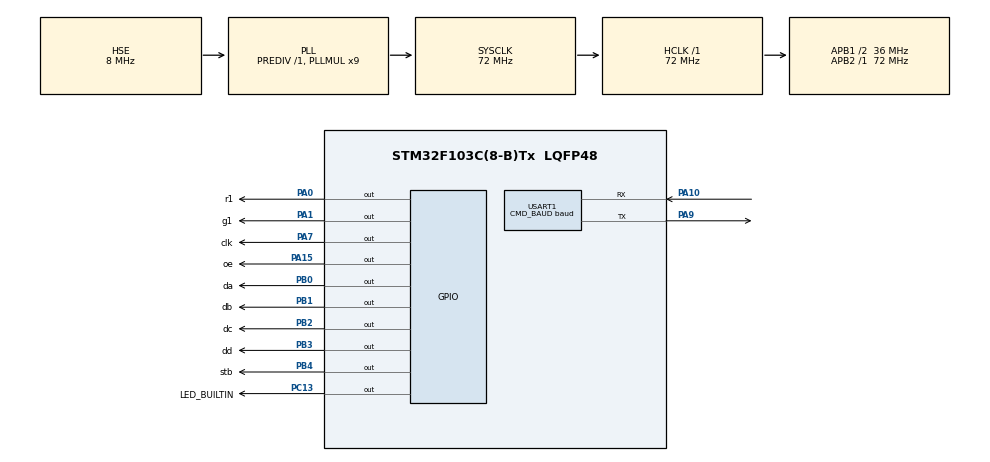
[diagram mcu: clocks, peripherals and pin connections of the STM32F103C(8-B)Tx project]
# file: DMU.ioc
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Dma.Request0=TIM1_UP
Dma.TIM1_UP.0.Direction=DMA_MEMORY_TO_PERIPH
Dma.TIM1_UP.0.Instance=DMA1_Channel5
Dma.TIM1_UP.0.MemDataAlignment=DMA_MDATAALIGN_BYTE
Dma.TIM1_UP.0.MemInc=DMA_MINC_ENABLE
Dma.TIM1_UP.0.Mode=DMA_NORMAL
Dma.TIM1_UP.0.PeriphDataAlignment=DMA_PDATAALIGN_BYTE
Dma.TIM1_UP.0.PeriphInc=DMA_PINC_DISABLE
Dma.TIM1_UP.0.Priority=DMA_PRIORITY_HIGH
IWDG.Prescaler=IWDG_PRESCALER_64
IWDG.Reload=IWDG_1S
Mcu.Family=STM32F1
Mcu.Name=STM32F103C(8-B)Tx
Mcu.Package=LQFP48
Mcu.UserConstants=CLK_PSC,0;CLK_ARR,11;CLK_MAX_DUTY,(CLK_ARR + 1);OE_PSC,0;OE_ARR,14399;OE_MAX_DUTY,(OE_ARR + 1);IWDG_1S,625;CMD_BAUD,38400
NVIC.DMA1_Channel5_IRQn=true\:6\:0\:true\:false\:true\:false\:true
NVIC.PriorityGroup=NVIC_PRIORITYGROUP_4
NVIC.TIM2_IRQn=true\:7\:0\:true\:false\:true\:true\:true
NVIC.USART1_IRQn=true\:8\:0\:true\:false\:false\:true\:true
PA0-WKUP.GPIO_Label=r1
PA0-WKUP.GPIO_Speed=GPIO_SPEED_FREQ_HIGH
PA0-WKUP.Signal=GPIO_Output
PA1.GPIO_Label=g1
PA1.GPIO_Speed=GPIO_SPEED_FREQ_HIGH
PA1.Signal=GPIO_Output
PA10.GPIO_PuPd=GPIO_PULLUP
PA10.Mode=Asynchronous
PA10.Signal=USART1_RX
PA13.Mode=Serial_Wire
PA13.Signal=SYS_JTMS-SWDIO
PA14.Mode=Serial_Wire
PA14.Signal=SYS_JTCK-SWCLK
PA15.GPIO_Label=oe
PA15.GPIO_Speed=GPIO_SPEED_FREQ_HIGH
PA15.Signal=GPIO_Output
PA7.GPIO_Label=clk
PA7.GPIO_Speed=GPIO_SPEED_FREQ_HIGH
PA7.Signal=GPIO_Output
PA9.Mode=Asynchronous
PA9.Signal=USART1_TX
PB0.GPIO_Label=da
PB0.GPIO_Speed=GPIO_SPEED_FREQ_HIGH
PB0.Signal=GPIO_Output
PB1.GPIO_Label=db
PB1.GPIO_Speed=GPIO_SPEED_FREQ_HIGH
PB1.Signal=GPIO_Output
PB2.GPIO_Label=dc
PB2.GPIO_Speed=GPIO_SPEED_FREQ_HIGH
PB2.Signal=GPIO_Output
PB3.GPIO_Label=dd
PB3.GPIO_Speed=GPIO_SPEED_FREQ_HIGH
PB3.Signal=GPIO_Output
PB4.GPIO_Label=stb
PB4.GPIO_Speed=GPIO_SPEED_FREQ_HIGH
PB4.Signal=GPIO_Output
PC13-TAMPER-RTC.GPIO_Label=LED_BUILTIN
PC13-TAMPER-RTC.GPIO_Speed=GPIO_SPEED_FREQ_HIGH
PC13-TAMPER-RTC.PinState=GPIO_PIN_SET
PC13-TAMPER-RTC.Signal=GPIO_Output
PD0-OSC_IN.Mode=HSE-External-Oscillator
PD0-OSC_IN.Signal=RCC_OSC_IN
PD1-OSC_OUT.Mode=HSE-External-Oscillator
PD1-OSC_OUT.Signal=RCC_OSC_OUT
ProjectManager.HeapSize=0x200
ProjectManager.StackSize=0x400
ProjectManager.TargetToolchain=TrueSTUDIO
RCC.AHBFreq_Value=72000000
RCC.APB1CLKDivider=RCC_HCLK_DIV2
RCC.APB1Freq_Value=36000000
RCC.APB1TimFreq_Value=72000000
RCC.APB2Freq_Value=72000000
RCC.APB2TimFreq_Value=72000000
RCC.HCLKFreq_Value=72000000
RCC.PLLMUL=RCC_PLL_MUL9
RCC.PLLSourceVirtual=RCC_PLLSOURCE_HSE
RCC.SYSCLKFreq_VALUE=72000000
RCC.SYSCLKSource=RCC_SYSCLKSOURCE_PLLCLK
RCC.USBFreq_Value=48000000
RCC.USBPrescaler=RCC_USBCLKSOURCE_PLL_DIV1_5
TIM1.Period=CLK_ARR
TIM1.Prescaler=CLK_PSC
TIM2.Period=OE_ARR
TIM2.Prescaler=OE_PSC
TIM2.TIM_MasterOutputTrigger=TIM_TRGO_UPDATE
USART1.BaudRate=CMD_BAUD
USART1.Mode=MODE_RX
USART1.VirtualMode=VM_ASYNC
VP_IWDG_VS_IWDG.Mode=IWDG_Activate
VP_TIM1_VS_ClockSourceINT.Mode=Internal
VP_TIM2_VS_ClockSourceINT.Mode=Internal
board=custom

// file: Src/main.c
/* USER CODE BEGIN Header */
/**
 ******************************************************************************
 * @file           : main.c
 * @brief          : Main program body
 ******************************************************************************
 * @attention
 *
 * <h2><center>&copy; Copyright (c) 2020 STMicroelectronics.
 * All rights reserved.</center></h2>
 *
 * This software component is licensed by ST under BSD 3-Clause license,
 * the "License"; You may not use this file except in compliance with the
 * License. You may obtain a copy of the License at:
 *                        opensource.org/licenses/BSD-3-Clause
 *
 ******************************************************************************
 */
#define USE_EEPROM_FUNCTION		0
/* USER CODE END Header */

#include "main.h"

/* USER CODE BEGIN Includes */
#include <string.h>
#include <stdio.h>
#include <stdlib.h>

#include "matrix.h"
#include "stm_hal_serial.h"
#if USE_EEPROM_FUNCTION==1
#include "eeprom.h"
#endif	//if USE_EEPROM_FUNCTION==1
/* USER CODE END Includes */

/* USER CODE BEGIN PTD */
#define DISPLAY_TEXT_MAX_SIZE			384
#define DISPLAY_TEXT_MIN_SIZE			128
typedef enum
{
	st_to_default,
	st_default,
	st_block,
	st_ops
} StateMachineBit_e;

typedef enum
{
	anim_to_start,
	anim_start_head_anim,
	anim_head_anim,
	anim_running,
	anim_start_tail_anim,
	anim_tail_anim,
	anim_end,
	anim_check_new
} StateAnimation_e;

typedef enum
{
	HT_NONE = 0,
	HT_BLINK,
	HT_BLANK
} HeadAndTailAnimation_e;

typedef enum
{
	SD_NONE = 0,
	SD_LEFT_TO_RIGHT,
	SD_RIGHT_TO_LEFT,
	SD_DOWNWARD,
	SD_UPWARD
} ScollingDirection_e;

typedef enum
{
	TA_LEFT = 0,
	TA_RIGHT,
	TA_CENTER
} TextAlignment_e;

typedef enum
{
	VA_CENTER = 0,
	VA_UP
} VerticalAlignment_e;

typedef enum
{
	PB_Color_bit = 0,
	PB_Fontsize_bit = 3,
	PB_Default_bit = 5,
	PB_Timeout_bit = 6,
	PB_HeadAnim_bit = 0,
	PB_TailAnim_bit = 3,
	PB_Alignment_bit = 6,
	PB_Direction_bit = 8,
	PB_VAlignment_bit = 12
} ParamBits_e;

typedef struct
{
	StateAnimation_e state;

	HeadAndTailAnimation_e headAnimation;
	HeadAndTailAnimation_e tailAnimation;
	TextAlignment_e alignment;
	VerticalAlignment_e vAlign;
	ScollingDirection_e direction;

	int32_t currentX;
	int32_t currentY;
	uint32_t timeout;
} Animation_t;

typedef enum
{
	DISPLAY_TEXT = 0,
	DISPLAY_BLOCK,
	DISPLAY_RESV
} DisplayMode_e;

typedef struct
{
	DisplayMode_e type;
	uint8_t fontSize;
	uint8_t color;
	bool defaultMode;
	char msg[DISPLAY_TEXT_MAX_SIZE];
	uint32_t timeout;
	Animation_t animation;
} DisplayText_t;

typedef struct
{
	bool newTextAvailable;
	uint8_t state;

	DisplayText_t activeText;
	DisplayText_t newText;
	DisplayText_t DefaultText;
} RText_t;

typedef struct
{
	char buf[10][DISPLAY_TEXT_MIN_SIZE];
	uint8_t bufPointer;
	uint8_t maxBuf;
} FlipTextBuffer_t;

/* USER CODE END PTD */

/* USER CODE BEGIN PD */
#define DEBUG					0
#if DEBUG==1
uint16_t fps = 0;
#endif	//if DEBUG==1

#define SW_VERSION				"v1.2.1b"

#define CMD_BUFSIZE				512
#define TEXT_COLOR				0b001

#define CMD_TIMEOUT				35000
/* USER CODE END PD */

IWDG_HandleTypeDef hiwdg;

TIM_HandleTypeDef htim1;
TIM_HandleTypeDef htim2;
DMA_HandleTypeDef hdma_tim1_up;

UART_HandleTypeDef huart1;

/* USER CODE BEGIN PV */
/* TODO Global Variables*/
Ring_Buffer_t tx1Buffer = { { 0 }, 0, 0 };
Ring_Buffer_t rx1Buffer = { { 0 }, 0, 0 };
TSerial serial = { &rx1Buffer, &tx1Buffer, &huart1 };

volatile uint8_t swapBufferStart = 0;
volatile uint32_t activeFrameRowAdress = 0;
volatile uint32_t matrix_row = 0;
volatile uint8_t deactiveMatrix = 0;

char inCmd[CMD_BUFSIZE];
FlipTextBuffer_t flipTextBuffer;

RText_t rText;

#if USE_EEPROM_FUNCTION==1
const uint16_t START_EE_ADDRESS = 0;
const uint32_t FORMATED_BYTES = 0x6B757200;
const uint8_t EE_DATA_MAX_SIZE = DISPLAY_TEXT_MAX_SIZE / 4 + 1;
#endif	//if USE_EEPROM_FUNCTION==1

/* USER CODE END PV */

void SystemClock_Config(void);
static void MX_GPIO_Init(void);
static void MX_DMA_Init(void);
static void MX_TIM1_Init(void);
static void MX_USART1_UART_Init(void);
static void MX_IWDG_Init(void);
static void MX_TIM2_Init(void);
/* USER CODE BEGIN PFP */
/* TODO Function Prototypes*/
static void startDmaTransfering();
static void dmaTransferCompleted(DMA_HandleTypeDef *hdma);

static HAL_StatusTypeDef parsingCommand(char *cmd);
static void commandHandler();
static void commandInit();
#if USE_EEPROM_FUNCTION==1
static void commandEEInit();
static void commandEESave(uint8_t color, uint8_t fontSize, char *buf);
#endif	//if USE_EEPROM_FUNCTION==1

static void displayHandler();
static void parsingFlipText();

static int indexOfStr(char *from, const char *str, uint32_t fromIndex);
static int indexOfChr(char *from, const char ch, uint32_t fromIndex);
static void substring(char *from, char *to, uint32_t left, uint32_t right);
/* USER CODE END PFP */

int main(void)
{

	/* MCU Configuration--------------------------------------------------------*/

	/* Reset of all peripherals, Initializes the Flash interface and the Systick. */
	HAL_Init();

	/* Configure the system clock */
	SystemClock_Config();

	/* Initialize all configured peripherals */
	MX_GPIO_Init();
	MX_DMA_Init();
	MX_TIM1_Init();
	MX_USART1_UART_Init();
	MX_IWDG_Init();
	MX_TIM2_Init();
	/* USER CODE BEGIN 2 */
	/* TODO Initialization*/
	HAL_IWDG_Refresh(&hiwdg);

	/* init data */
	rgb_init();
	activeFrameRowAdress = rgb_get_buffer(0);

	/* enable tim1 dma */
	__HAL_TIM_ENABLE_DMA(&htim1, TIM_DMA_UPDATE);
	hdma_tim1_up.XferCpltCallback = dmaTransferCompleted;
	/* start timer 1 */
	HAL_TIM_Base_Start(&htim1);

	/* enable tim2 */
	HAL_TIM_Base_Start_IT(&htim2);

	HAL_IWDG_Refresh(&hiwdg);

	rgb_frame_clear(0);
	char version[32];
	uint16_t versionLen = sprintf(version, "%s", SW_VERSION);
	char headerStart[32];
	uint16_t headerLen = sprintf(headerStart, "RESPATI");
	uint8_t headerSize = 1;
	uint8_t headerColor = TEXT_COLOR;
//	rgb_print((MATRIX_MAX_WIDTH - 6 * headerSize * headerLen) / 2, 0, headerStart, headerLen,
//			headerColor, headerSize);
	rgb_print(0, 0, headerStart, headerLen, headerColor, headerSize);
	rgb_print(0, 8, SW_VERSION, versionLen, headerColor, headerSize);

	swapBufferStart = 1;

	for ( uint8_t i = 0; i < 5; i++ )
	{
		HAL_IWDG_Refresh(&hiwdg);
		HAL_Delay(100);
	}
	rgb_frame_clear(0);
	swapBufferStart = 1;
	while (swapBufferStart != 0)
		;

#if DEBUG==1
	char buf[DISPLAY_TEXT_MIN_SIZE];
	uint16_t bufLen;
	sprintf(rText.activeText.msg, "asu#tokek#kadal#babi");
	char *str = rText.activeText.msg;
	FlipTextBuffer_t *fB = &flipTextBuffer;

	parsingFlipText();

	rgb_frame_clear(0);
	rgb_print(0, 0, str, strlen(str), TEXT_COLOR, 1);

	bufLen = sprintf(buf, "%d %s %s %s %s", fB->maxBuf, fB->buf[0], fB->buf[1], fB->buf[2],
			fB->buf[fB->maxBuf - 1]);
	rgb_print(0, 8, buf, bufLen, TEXT_COLOR, 1);
	swapBufferStart = 1;

	while (1)
	HAL_IWDG_Refresh(&hiwdg);

	uint32_t _ms = 0, fpsTimer = 0;
	while (1)
	{
		_ms = HAL_GetTick();
		HAL_IWDG_Refresh(&hiwdg);

		if (_ms >= fpsTimer)
		{
			fpsTimer = _ms + 1000;

			rgb_frame_clear(0);
			headerLen = sprintf(headerStart, "f= %d", fps);
			fps = 0;
			rgb_print(0, 0, headerStart, headerLen, TEXT_COLOR, 2);
			headerLen = sprintf(headerStart, "%lu", htim2.Init.Period);
			rgb_print(64, 16, headerStart, headerLen, TEXT_COLOR, 2);
			swapBufferStart = 1;

		}
	}
#endif	//if DEBUG==1

	commandInit();
	serial_init(&serial);
	rText.activeText.timeout = HAL_GetTick() + 2000;
	/* USER CODE END 2 */

	/* Infinite loop */
	/* USER CODE BEGIN WHILE */
	while (1)
	{
		HAL_IWDG_Refresh(&hiwdg);
		/* USER CODE END WHILE */

		/* USER CODE BEGIN 3 */
		commandHandler();
		displayHandler();
	}
	/* USER CODE END 3 */
}

void SystemClock_Config(void)
{
	RCC_OscInitTypeDef RCC_OscInitStruct = { 0 };
	RCC_ClkInitTypeDef RCC_ClkInitStruct = { 0 };

	/** Initializes the CPU, AHB and APB busses clocks
	 */
	RCC_OscInitStruct.OscillatorType = RCC_OSCILLATORTYPE_LSI | RCC_OSCILLATORTYPE_HSE;
	RCC_OscInitStruct.HSEState = RCC_HSE_ON;
	RCC_OscInitStruct.HSEPredivValue = RCC_HSE_PREDIV_DIV1;
	RCC_OscInitStruct.HSIState = RCC_HSI_ON;
	RCC_OscInitStruct.LSIState = RCC_LSI_ON;
	RCC_OscInitStruct.PLL.PLLState = RCC_PLL_ON;
	RCC_OscInitStruct.PLL.PLLSource = RCC_PLLSOURCE_HSE;
	RCC_OscInitStruct.PLL.PLLMUL = RCC_PLL_MUL9;
	if (HAL_RCC_OscConfig(&RCC_OscInitStruct) != HAL_OK)
	{
		Error_Handler();
	}
	/** Initializes the CPU, AHB and APB busses clocks
	 */
	RCC_ClkInitStruct.ClockType = RCC_CLOCKTYPE_HCLK | RCC_CLOCKTYPE_SYSCLK | RCC_CLOCKTYPE_PCLK1
			| RCC_CLOCKTYPE_PCLK2;
	RCC_ClkInitStruct.SYSCLKSource = RCC_SYSCLKSOURCE_PLLCLK;
	RCC_ClkInitStruct.AHBCLKDivider = RCC_SYSCLK_DIV1;
	RCC_ClkInitStruct.APB1CLKDivider = RCC_HCLK_DIV2;
	RCC_ClkInitStruct.APB2CLKDivider = RCC_HCLK_DIV1;

	if (HAL_RCC_ClockConfig(&RCC_ClkInitStruct, FLASH_LATENCY_2) != HAL_OK)
	{
		Error_Handler();
	}
}

static void MX_IWDG_Init(void)
{

	hiwdg.Instance = IWDG;
	hiwdg.Init.Prescaler = IWDG_PRESCALER_64;
	hiwdg.Init.Reload = IWDG_1S;
	if (HAL_IWDG_Init(&hiwdg) != HAL_OK)
	{
		Error_Handler();
	}

}

static void MX_TIM1_Init(void)
{

	TIM_ClockConfigTypeDef sClockSourceConfig = { 0 };
	TIM_MasterConfigTypeDef sMasterConfig = { 0 };

	htim1.Instance = TIM1;
	htim1.Init.Prescaler = CLK_PSC;
	htim1.Init.CounterMode = TIM_COUNTERMODE_UP;
	htim1.Init.Period = CLK_ARR;
	htim1.Init.ClockDivision = TIM_CLOCKDIVISION_DIV1;
	htim1.Init.RepetitionCounter = 0;
	htim1.Init.AutoReloadPreload = TIM_AUTORELOAD_PRELOAD_DISABLE;
	if (HAL_TIM_Base_Init(&htim1) != HAL_OK)
	{
		Error_Handler();
	}
	sClockSourceConfig.ClockSource = TIM_CLOCKSOURCE_INTERNAL;
	if (HAL_TIM_ConfigClockSource(&htim1, &sClockSourceConfig) != HAL_OK)
	{
		Error_Handler();
	}
	sMasterConfig.MasterOutputTrigger = TIM_TRGO_RESET;
	sMasterConfig.MasterSlaveMode = TIM_MASTERSLAVEMODE_DISABLE;
	if (HAL_TIMEx_MasterConfigSynchronization(&htim1, &sMasterConfig) != HAL_OK)
	{
		Error_Handler();
	}

}

static void MX_TIM2_Init(void)
{

	TIM_ClockConfigTypeDef sClockSourceConfig = { 0 };
	TIM_MasterConfigTypeDef sMasterConfig = { 0 };

	htim2.Instance = TIM2;
	htim2.Init.Prescaler = OE_PSC;
	htim2.Init.CounterMode = TIM_COUNTERMODE_UP;
	htim2.Init.Period = OE_ARR;
	htim2.Init.ClockDivision = TIM_CLOCKDIVISION_DIV1;
	htim2.Init.AutoReloadPreload = TIM_AUTORELOAD_PRELOAD_DISABLE;
	if (HAL_TIM_Base_Init(&htim2) != HAL_OK)
	{
		Error_Handler();
	}
	sClockSourceConfig.ClockSource = TIM_CLOCKSOURCE_INTERNAL;
	if (HAL_TIM_ConfigClockSource(&htim2, &sClockSourceConfig) != HAL_OK)
	{
		Error_Handler();
	}
	sMasterConfig.MasterOutputTrigger = TIM_TRGO_UPDATE;
	sMasterConfig.MasterSlaveMode = TIM_MASTERSLAVEMODE_DISABLE;
	if (HAL_TIMEx_MasterConfigSynchronization(&htim2, &sMasterConfig) != HAL_OK)
	{
		Error_Handler();
	}

}

static void MX_USART1_UART_Init(void)
{

	huart1.Instance = USART1;
	huart1.Init.BaudRate = CMD_BAUD;
	huart1.Init.WordLength = UART_WORDLENGTH_8B;
	huart1.Init.StopBits = UART_STOPBITS_1;
	huart1.Init.Parity = UART_PARITY_NONE;
	huart1.Init.Mode = UART_MODE_RX;
	huart1.Init.HwFlowCtl = UART_HWCONTROL_NONE;
	huart1.Init.OverSampling = UART_OVERSAMPLING_16;
	if (HAL_UART_Init(&huart1) != HAL_OK)
	{
		Error_Handler();
	}

}

static void MX_DMA_Init(void)
{

	/* DMA controller clock enable */
	__HAL_RCC_DMA1_CLK_ENABLE()
	;

	/* DMA interrupt init */
	/* DMA1_Channel5_IRQn interrupt configuration */
	HAL_NVIC_SetPriority(DMA1_Channel5_IRQn, 6, 0);
	HAL_NVIC_EnableIRQ(DMA1_Channel5_IRQn);

}

static void MX_GPIO_Init(void)
{
	GPIO_InitTypeDef GPIO_InitStruct = { 0 };

	/* GPIO Ports Clock Enable */
	__HAL_RCC_GPIOC_CLK_ENABLE()
	;
	__HAL_RCC_GPIOD_CLK_ENABLE()
	;
	__HAL_RCC_GPIOA_CLK_ENABLE()
	;
	__HAL_RCC_GPIOB_CLK_ENABLE()
	;

	/*Configure GPIO pin Output Level */
	HAL_GPIO_WritePin(LED_BUILTIN_GPIO_Port, LED_BUILTIN_Pin, GPIO_PIN_SET);

	/*Configure GPIO pin Output Level */
	HAL_GPIO_WritePin(GPIOA, r1_Pin | g1_Pin | clk_Pin | oe_Pin, GPIO_PIN_RESET);

	/*Configure GPIO pin Output Level */
	HAL_GPIO_WritePin(GPIOB, da_Pin | db_Pin | dc_Pin | dd_Pin | stb_Pin, GPIO_PIN_RESET);

	/*Configure GPIO pin : LED_BUILTIN_Pin */
	GPIO_InitStruct.Pin = LED_BUILTIN_Pin;
	GPIO_InitStruct.Mode = GPIO_MODE_OUTPUT_PP;
	GPIO_InitStruct.Pull = GPIO_NOPULL;
	GPIO_InitStruct.Speed = GPIO_SPEED_FREQ_HIGH;
	HAL_GPIO_Init(LED_BUILTIN_GPIO_Port, &GPIO_InitStruct);

	/*Configure GPIO pins : PC14 PC15 */
	GPIO_InitStruct.Pin = GPIO_PIN_14 | GPIO_PIN_15;
	GPIO_InitStruct.Mode = GPIO_MODE_ANALOG;
	HAL_GPIO_Init(GPIOC, &GPIO_InitStruct);

	/*Configure GPIO pins : r1_Pin g1_Pin clk_Pin oe_Pin */
	GPIO_InitStruct.Pin = r1_Pin | g1_Pin | clk_Pin | oe_Pin;
	GPIO_InitStruct.Mode = GPIO_MODE_OUTPUT_PP;
	GPIO_InitStruct.Pull = GPIO_NOPULL;
	GPIO_InitStruct.Speed = GPIO_SPEED_FREQ_HIGH;
	HAL_GPIO_Init(GPIOA, &GPIO_InitStruct);

	/*Configure GPIO pins : PA2 PA3 PA4 PA5
	 PA6 PA8 PA11 PA12 */
	GPIO_InitStruct.Pin = GPIO_PIN_2 | GPIO_PIN_3 | GPIO_PIN_4 | GPIO_PIN_5 | GPIO_PIN_6
			| GPIO_PIN_8 | GPIO_PIN_11 | GPIO_PIN_12;
	GPIO_InitStruct.Mode = GPIO_MODE_ANALOG;
	HAL_GPIO_Init(GPIOA, &GPIO_InitStruct);

	/*Configure GPIO pins : da_Pin db_Pin dc_Pin dd_Pin
	 stb_Pin */
	GPIO_InitStruct.Pin = da_Pin | db_Pin | dc_Pin | dd_Pin | stb_Pin;
	GPIO_InitStruct.Mode = GPIO_MODE_OUTPUT_PP;
	GPIO_InitStruct.Pull = GPIO_NOPULL;
	GPIO_InitStruct.Speed = GPIO_SPEED_FREQ_HIGH;
	HAL_GPIO_Init(GPIOB, &GPIO_InitStruct);

	/*Configure GPIO pins : PB10 PB11 PB12 PB13
	 PB14 PB15 PB5 PB6
	 PB7 PB8 PB9 */
	GPIO_InitStruct.Pin = GPIO_PIN_10 | GPIO_PIN_11 | GPIO_PIN_12 | GPIO_PIN_13 | GPIO_PIN_14
			| GPIO_PIN_15 | GPIO_PIN_5 | GPIO_PIN_6 | GPIO_PIN_7 | GPIO_PIN_8 | GPIO_PIN_9;
	GPIO_InitStruct.Mode = GPIO_MODE_ANALOG;
	HAL_GPIO_Init(GPIOB, &GPIO_InitStruct);

}

/* USER CODE BEGIN 4 */
/* TODO Function Declaration*/
static int indexOfStr(char *from, const char *str, uint32_t fromIndex)
{
	uint32_t len = strlen(from);
	if (fromIndex >= len)
		return -1;
	const char *found = strstr(from + fromIndex, str);
	if (found == NULL)
		return -1;
	return found - from;
}

static int indexOfChr(char *from, const char ch, uint32_t fromIndex)
{
	uint32_t len = strlen(from);
	if (fromIndex >= len)
		return -1;
	const char* temp = strchr(from + fromIndex, ch);
	if (temp == NULL)
		return -1;
	return temp - from;
}

static void substring(char *from, char *to, uint32_t left, uint32_t right)
{
	uint32_t len = strlen(from);
	char *out;

	if (left > right)
	{
		unsigned int temp = right;
		right = left;
		left = temp;
	}
	if (left > len)
		return;
	if (right > len)
		right = len;
	char temp = from[right];  // save the replaced character
	from[right] = '\0';
	out = from + left;  // pointer arithmetic
	sprintf(to, "%s", out);
	from[right] = temp;  //restore character
}

static void startSwapBuffer()
{
	while (swapBufferStart == 1)
		;
	swapBufferStart = 1;
}

static void parsingFlipText()
{
	int i, start, end;
	const char delimiter = '\n';

	memset(&flipTextBuffer, 0, sizeof(flipTextBuffer));
	char *str = rText.activeText.msg;

	i = start = end = 0;
	for ( i = 0; i < 10; i++ )
	{
		if (indexOfChr(str, delimiter, end) < 0)
		{
			end = indexOfChr(str, delimiter, start + 1);
			substring(str, flipTextBuffer.buf[i], start, end < 0 ? strlen(str) : end);
			break;
		}

		end = indexOfChr(str, delimiter, start + 1);
		substring(str, flipTextBuffer.buf[i], start, end < 0 ? strlen(str) : end);

		end++;
		start = end;
	}
	flipTextBuffer.maxBuf = i + 1;
}

static void runningVerTextDisplay()
{

	DisplayText_t *dt = &rText.activeText;
	Animation_t *actAnim = &dt->animation;
	int32_t x, y;
	uint32_t len;
	int32_t hThresshold;
	FlipTextBuffer_t *fb = &flipTextBuffer;

	rgb_frame_clear(0);
	for ( int i = 0; i < fb->maxBuf; i++ )
	{
		len = strlen(fb->buf[i]);
		if (len > 0)
		{
			if (actAnim->alignment == TA_CENTER)
				x = (MATRIX_MAX_WIDTH - (int32_t) dt->fontSize * 6 * (int32_t) len) / 2;
			else
				x = 0;

			y = (MATRIX_MAX_HEIGHT - 8 * dt->fontSize) / 2;
			if (actAnim->direction == SD_DOWNWARD)
				y -= (i * MATRIX_MAX_HEIGHT);
			else if (actAnim->direction == SD_UPWARD)
				y += (i * MATRIX_MAX_HEIGHT);

			rgb_print(x + actAnim->currentX, y + actAnim->currentY, fb->buf[i], len, dt->color,
					dt->fontSize);
		}
	}
	startSwapBuffer();

	if (actAnim->direction == SD_DOWNWARD)
	{
		if (actAnim->tailAnimation == HT_BLANK)
			hThresshold = (int32_t) fb->maxBuf * MATRIX_MAX_HEIGHT;
		else
			hThresshold = (int32_t) (fb->maxBuf - 1) * MATRIX_MAX_HEIGHT;

		if (actAnim->currentY % MATRIX_MAX_HEIGHT == 0)
			actAnim->timeout = HAL_GetTick() + 1500;
		else
			actAnim->timeout = HAL_GetTick() + 25;

		actAnim->currentY++;
		if (actAnim->currentY > hThresshold)
		{
			if (actAnim->tailAnimation == HT_BLINK)
				actAnim->state = anim_start_tail_anim;
			else
				actAnim->state = anim_end;
		}
	}
	else if (actAnim->direction == SD_UPWARD)
	{
		if (actAnim->tailAnimation == HT_BLANK)
			hThresshold = 0 - (int32_t) fb->maxBuf * MATRIX_MAX_HEIGHT;
		else
			hThresshold = 0 - (int32_t) (fb->maxBuf - 1) * MATRIX_MAX_HEIGHT;

		if (actAnim->currentY % MATRIX_MAX_HEIGHT == 0)
			actAnim->timeout = HAL_GetTick() + 1500;
		else
			actAnim->timeout = HAL_GetTick() + 25;

		actAnim->currentY--;
		if (actAnim->currentY < hThresshold)
		{
			if (actAnim->tailAnimation == HT_BLINK)
				actAnim->state = anim_start_tail_anim;
			else
				actAnim->state = anim_end;
		}
	}
}
static void runningHorTextDisplay()
{
	DisplayText_t *dt = &rText.activeText;
	Animation_t *actAnim = &dt->animation;
	int32_t xAnimEndPos;

	rgb_frame_clear(0);
	xAnimEndPos = rgb_print_constrain(actAnim->currentX, actAnim->currentY, dt->msg,
			strlen(dt->msg), dt->color, dt->fontSize, 0, MATRIX_MAX_WIDTH, 0,
			MATRIX_MAX_HEIGHT);
	startSwapBuffer();
	if (actAnim->tailAnimation == HT_BLANK)
		xAnimEndPos += MATRIX_MAX_WIDTH;
	if (xAnimEndPos >= MATRIX_MAX_WIDTH)
	{
		if (actAnim->direction == SD_LEFT_TO_RIGHT)
		{
			actAnim->currentX--;
			actAnim->timeout = HAL_GetTick() + 25;
		}
		else
		{
			actAnim->state = anim_end;
			actAnim->timeout = HAL_GetTick() + 1000;
		}
	}
	else
	{
		if (actAnim->tailAnimation == HT_BLINK)
			actAnim->state = anim_start_tail_anim;
		else if (actAnim->tailAnimation == HT_BLANK)
			actAnim->state = anim_end;
		else
		{
			actAnim->state = anim_end;
			actAnim->timeout = HAL_GetTick() + 1000;
		}
	}
}

static void displayTextAnimation()
{
	DisplayText_t *dt = &rText.activeText;
	Animation_t *actAnim = &dt->animation;
	StateAnimation_e *state = &actAnim->state;
	static uint8_t blinkCounter = 0;

	switch (*state)
	{
	case anim_to_start:
		/* format text according to scrolling direction */
		actAnim->currentX = 0;
		if (dt->animation.vAlign == 1)
			actAnim->currentY = 0;
		else
			actAnim->currentY = (MATRIX_MAX_HEIGHT - 8 * dt->fontSize) / 2 + (dt->fontSize / 2);
		if ((actAnim->direction == SD_DOWNWARD) || (actAnim->direction == SD_UPWARD))
		{
			parsingFlipText();
			actAnim->currentX = actAnim->currentY = 0;
		}

		/* add head animation */
		switch (actAnim->headAnimation)
		{
		case HT_BLINK:
			/* add timeout */
			actAnim->timeout = 250;
			/* move to anim_start_head_anim */
			blinkCounter = 0;
			*state = anim_start_head_anim;
			break;
		case HT_BLANK:
			/* add blank space with width = MATRIX_MAX_WIDTH */
			actAnim->currentX = MATRIX_MAX_WIDTH;
		default:
			actAnim->timeout = 1000;
			/* command blank display with refresh cmd_timeout */
			if (actAnim->direction == SD_NONE && dt->color == 0)
				*state = anim_check_new;
			else
				*state = anim_running;
			break;
		}

		if (actAnim->direction == SD_LEFT_TO_RIGHT)
		{
			rgb_frame_clear(0);
			rgb_print(actAnim->currentX, actAnim->currentY, dt->msg, strlen(dt->msg), dt->color,
					dt->fontSize);
			startSwapBuffer();
		}
		break;
	case anim_start_head_anim:
		if (HAL_GetTick() >= actAnim->timeout)
		{
			rgb_frame_clear(0);
			if (bitRead(blinkCounter, 0))
				rgb_print(actAnim->currentX, actAnim->currentY, dt->msg, strlen(dt->msg), dt->color,
						dt->fontSize);
			startSwapBuffer();
			actAnim->timeout = HAL_GetTick() + 250;

			if (++blinkCounter >= 6)
				actAnim->state = anim_running;
		}
		break;
	case anim_head_anim:
		break;
	case anim_running:
		if (HAL_GetTick() >= actAnim->timeout)
		{
			if ((actAnim->direction == SD_DOWNWARD) || (actAnim->direction == SD_UPWARD))
				runningVerTextDisplay();
			else
				runningHorTextDisplay();
		}
		break;
	case anim_start_tail_anim:
		blinkCounter = 0;
		actAnim->state = anim_tail_anim;
		actAnim->timeout = HAL_GetTick() + 250;
		break;
	case anim_tail_anim:
		rgb_frame_clear(0);
		if (bitRead(blinkCounter, 0))
		{
			rgb_print_constrain(actAnim->currentX, actAnim->currentY, dt->msg, strlen(dt->msg),
					dt->color, dt->fontSize, 0, MATRIX_MAX_WIDTH, 0,
					MATRIX_MAX_HEIGHT);
		}
		startSwapBuffer();
		actAnim->timeout = HAL_GetTick() + 250;
		if (++blinkCounter > 6)
			actAnim->state = anim_end;
		break;
	case anim_end:
		if (HAL_GetTick() >= actAnim->timeout)
			actAnim->state = anim_check_new;
		break;
	default:
		actAnim->state = anim_to_start;
		break;

	}
}

static void checkNewCommand()
{
	if (rText.newTextAvailable)
	{
		if (rText.newText.type == DISPLAY_TEXT)
		{
			//if currently running default animation
			if (rText.activeText.defaultMode)
			{
				rText.activeText = rText.newText;
				rText.activeText.timeout = HAL_GetTick() + CMD_TIMEOUT;
				rText.state = st_ops;
				rText.activeText.animation.state = anim_to_start;
				rText.newTextAvailable = false;
			}  //if (!rText.activeText.defaultMode)
			else
			{
				// if not in block type
				if (rText.activeText.type == DISPLAY_TEXT)
				{
					// if not running animation
					if (rText.activeText.animation.state == anim_check_new)
					{
						/* swap new text to active text */
						rText.activeText = rText.newText;
						rText.activeText.timeout = HAL_GetTick() + CMD_TIMEOUT;
						rText.state = st_ops;
						rText.activeText.animation.state = anim_to_start;
						rText.newTextAvailable = false;
					}
				}
			}  //if (!rText.activeText.defaultMode) .. else ..
		}  //if (rText.newText.type == DISPLAY_TEXT)
		else if (rText.newText.type == DISPLAY_BLOCK)
		{
			rText.activeText = rText.newText;
			rText.state = st_block;
			rgb_frame_clear(rText.activeText.color);
			startSwapBuffer();
			rText.newTextAvailable = false;
		}  //else if (rText.newText.type == DISPLAY_BLOCK){
	}  //if (rText.newTextAvailable)
}

static void displayHandler()
{
	checkNewCommand();

	// if timeout
	if (rText.state != st_default && (HAL_GetTick() >= rText.activeText.timeout))
	{
		rText.activeText = rText.DefaultText;
		rText.activeText.timeout = 0;
		rText.state = st_default;
		rText.activeText.animation.state = anim_to_start;
	}

	if (rText.activeText.type == DISPLAY_TEXT)
		displayTextAnimation();
}

static HAL_StatusTypeDef parsingCommand(char *cmd)
{
	char *pointer = cmd;
	char tem[DISPLAY_TEXT_MAX_SIZE];
	uint16_t pos;
	uint16_t i;
	uint16_t msgIndex;
	uint32_t u32;
	uint16_t param1 = 0, param2 = 0;
	char cFind, cFind2;
	DisplayText_t *dt = &rText.newText;

	/* check header bytes */
	memset(tem, 0, DISPLAY_TEXT_MAX_SIZE);
	pos = strlen(pointer);
	cFind = ',';
	for ( i = 0; i < pos; i++ )
	{
		if (*pointer != cFind)
			tem[i] = *pointer++;
		else
			break;
	}

	if ((i >= pos) && (strlen(tem) == 0))
		return HAL_ERROR;

	if (strcmp(tem, "$RTEXT") != 0)
	{
		return HAL_ERROR;
	}

	memset(&rText.newText, 0, sizeof(rText.newText));

	/* find display type */
	pointer++;
	memset(tem, 0, DISPLAY_TEXT_MAX_SIZE);
	pos = strlen(pointer);
	cFind = ',';
	for ( i = 0; i < pos; i++ )
	{
		if (*pointer == cFind)
			break;
		else
			tem[i] = *pointer++;
	}
	if ((i >= pos) && (strlen(tem) == 0))
		return HAL_ERROR;
	u32 = atoi(tem);
	if (u32 < DISPLAY_RESV)
		dt->type = atoi(tem);
	else
		return HAL_ERROR;

	/* find params I */
	param1 = 0;
	pointer++;
	memset(tem, 0, DISPLAY_TEXT_MAX_SIZE);
	pos = strlen(pointer);
	cFind = ',';
	cFind2 = '*';
	for ( i = 0; i < pos; i++ )
	{
		if ((*pointer == cFind) || (*pointer == cFind2))
			break;
		else
			tem[i] = *pointer++;
	}
	if ((i >= pos) && (strlen(tem) == 0))
		return HAL_ERROR;
	param1 = strtol(tem, NULL, 16);

	/* find params II */
	param2 = 0;
	pointer++;
	memset(tem, 0, DISPLAY_TEXT_MAX_SIZE);
	pos = strlen(pointer);
	cFind = ',';
	cFind2 = '*';
	for ( i = 0; i < pos; i++ )
	{
		if ((*pointer == cFind) || (*pointer == cFind2))
			break;
		else
			tem[i] = *pointer++;
	}
	if ((i >= pos) && (strlen(tem) == 0))
		return HAL_ERROR;
	param2 = strtol(tem, NULL, 16);

	/* parsing params */
	/* color */
	dt->color = param1 & 0b111;
	if (dt->type == DISPLAY_BLOCK)
	{
		/* default mode */
		dt->defaultMode = 0;
		/* fontsize */
		/* timeout in 1s */
		dt->timeout = (param1 >> PB_Timeout_bit) & 0x1F;
		dt->timeout *= 1000;  //convert to ms
		dt->timeout += HAL_GetTick();  // add to current time
		/* head animation */
		/* tail animation */
		/* alignment */
		/* direction */
	}
	else if (dt->type == DISPLAY_TEXT)
	{
		/* default */
		dt->defaultMode = bitRead(param1, PB_Default_bit);
		/* fontsize */
		dt->fontSize = ((param1 >> PB_Fontsize_bit) & 0b11) + 1;
		/* timeout in 1s */
		/* head animation */
		dt->animation.headAnimation = (param2 >> PB_HeadAnim_bit) & 0b111;
		/* tail animation */
		dt->animation.tailAnimation = (param2 >> PB_TailAnim_bit) & 0b111;
		/* direction */
		dt->animation.direction = (param2 >> PB_Direction_bit) & 0xF;
		/* alignment */
		dt->animation.alignment = (param2 >> PB_Alignment_bit) & 0b11;
		/* vertical alignment */
		dt->animation.vAlign = (param2 >> PB_VAlignment_bit) & 0b11;
	}

	/* acquire text */
	if (dt->type == DISPLAY_TEXT)
	{
		cFind = '\"';
		pointer++;
		if (*pointer != cFind)
			return HAL_ERROR;

		pointer++;
		memset(tem, 0, DISPLAY_TEXT_MAX_SIZE);
		pos = strlen(pointer);
		msgIndex = 0;
		for ( i = 0; i < pos; i++ )
		{
			if (*pointer == cFind)
				break;

			tem[msgIndex++] = *pointer++;
		}
		if ((i >= pos) && (strlen(tem) == 0))
			return HAL_ERROR;

		memcpy(dt->msg, tem, strlen(tem));
	}

	if (!dt->defaultMode)
		rText.newTextAvailable = true;
	else
		rText.DefaultText = *dt;

	return HAL_OK;
}

static void commandHandler()
{
	bool command_available = false;
	char c[2] = { 0, 0 };

	if (serial_available(&serial))
	{
		c[0] = serial_read(&serial);

		if (c[0] == '$')
			memset(inCmd, 0, CMD_BUFSIZE);
		else if (c[0] == '*')
			command_available = true;

		strcat(inCmd, c);
	}

	if (command_available)
		parsingCommand(inCmd);
}

static void commandInit()
{
	rText.newTextAvailable = false;
	rText.state = st_to_default;
	memset(&rText.DefaultText, 0, sizeof(rText.DefaultText));
	memset(&rText.activeText, 0, sizeof(rText.activeText));
	memset(&rText.newText, 0, sizeof(rText.newText));

	/* Initialize RText's default text struct */
	DisplayText_t *dt = &rText.DefaultText;

	dt->color = 1;
	dt->defaultMode = true;
	dt->fontSize = 2;
	dt->type = DISPLAY_TEXT;
	dt->timeout = HAL_GetTick() + CMD_TIMEOUT;
	sprintf(dt->msg, "PT INDUSTRI KERETA API (PERSERO). MADIUN");

	dt->animation.alignment = TA_LEFT;
	dt->animation.direction = SD_LEFT_TO_RIGHT;
	dt->animation.headAnimation = HT_BLANK;
	dt->animation.tailAnimation = HT_BLANK;

//	char buf[DISPLAY_TEXT_MAX_SIZE];
//	uint16_t bufLen;
//	bufLen = sprintf(buf, "%d %d %d %d\r\n%s", dt->type, dt->color, dt->fontSize, dt->defaultMode,
//			dt->msg);
//	rgb_frame_clear(0);
//	rgb_print(0, 0, buf, bufLen, 1, 1);
//	swapBufferStart = 1;

#if USE_EEPROM_FUNCTION==1
	commandEEInit();
#endif	//if USE_EEPROM_FUNCTION==1
}

#if USE_EEPROM_FUNCTION==1

static void commandEEInit()
{
	uint32_t data = 0;
	uint32_t formatMask = 0xFFFFFF00;
	uint8_t u8;
	uint32_t defText[DISPLAY_TEXT_MAX_SIZE / 4];

	if (EE_Read(START_EE_ADDRESS, &data))
	{
		if ((data & formatMask) != FORMATED_BYTES)
		commandEESave(stateKeeper.defaultText.color, stateKeeper.defaultText.fontSize,
				stateKeeper.defaultText.msg);
		else
		{
			/* retrieve font color & size */
			u8 = data & 0xFF;
			stateKeeper.defaultText.type = DISPLAY_TEXT;
			stateKeeper.defaultText.color = u8 & 0xF;
			stateKeeper.defaultText.fontSize = u8 >> 4;

			if (EE_Reads(START_EE_ADDRESS + 1, DISPLAY_TEXT_MAX_SIZE / 4, defText))
			{
				memset(stateKeeper.defaultText.msg, 0, DISPLAY_TEXT_MAX_SIZE);
				for ( int i = 0; i < DISPLAY_TEXT_MAX_SIZE / 4; i++ )
				{
					data = defText[i];
					for ( int j = 0; j < 4; j++ )
					stateKeeper.defaultText.msg[i * 4 + j] = (char) (data >> (8 * j));
				}
			}
		}
	}
}

static void commandEESave(uint8_t color, uint8_t fontSize, char *buf)
{
	uint32_t data = FORMATED_BYTES;
	data |= (fontSize << 4) & 0xF0;
	data |= color & 0xF;

	/* temporary clear display */
	rgb_frame_clear(0);
	swapBufferStart = 1;
	while (swapBufferStart)
	;
	/* temporary de-active display matrix */
	deactiveMatrix = 1;
	while (deactiveMatrix)
	;

	EE_Format();

	EE_Write(START_EE_ADDRESS, data);
	for ( int i = 0; i < EE_DATA_MAX_SIZE - 1; i++ )
	{
		data = 0;
		for ( int j = 0; j < 4; j++ )
		data |= (uint32_t) (*buf++) << (8 * j);
		EE_Write(START_EE_ADDRESS + 1 + i, data);
	}

	/* retrieve old display buffer */
	rgb_swap_buffer();
	activeFrameRowAdress = rgb_get_buffer(matrix_row);
	/* activate display matrix again */
	startDmaTransfering();
}
#endif	//if USE_EEPROM_FUNCTION==1

void USART1_IRQHandler(void)
{
	USARTx_IRQHandler(&serial);
}

static void startDmaTransfering()
{
	HAL_DMA_Start_IT(&hdma_tim1_up, activeFrameRowAdress, (uint32_t) &DATA_GPIO->ODR,
	FRAME_SIZE);
}

static void dmaTransferCompleted(DMA_HandleTypeDef *hdma)
{
	/* clear clk & data */
	DATA_GPIO->BSRR = DATA_BSRR_CLEAR;

	/* set oe & stb high */
	oe_GPIO_Port->BSRR = oe_Pin;
	stb_GPIO_Port->BSRR = stb_Pin;
	CONTROL_GPIO->ODR = (matrix_row << CONTROL_SHIFTER);
//	/* add 3 clk to enable STB/LAT effect */
//	clk_GPIO_Port->BSRR = clk_Pin;
//	clk_GPIO_Port->BSRR = DATA_BSRR_CLK_CLEAR;
//	clk_GPIO_Port->BSRR = clk_Pin;
//	clk_GPIO_Port->BSRR = DATA_BSRR_CLK_CLEAR;
//	clk_GPIO_Port->BSRR = clk_Pin;
//	clk_GPIO_Port->BSRR = DATA_BSRR_CLK_CLEAR;
	/* set oe & stb LOW */
	stb_GPIO_Port->BSRR = CONTROL_BSRR_STB_CLEAR;
	oe_GPIO_Port->BSRR = DATA_BSRR_OE_CLEAR;

	/* update matrix row */
	if (++matrix_row >= MATRIX_SCANROW)
	{
		matrix_row = 0;
		if (swapBufferStart)
		{
			rgb_swap_buffer();
			swapBufferStart = 0;
		}

#if DEBUG
		fps++;
#endif	//if DEBUG

	}
	activeFrameRowAdress = rgb_get_buffer(matrix_row);

	/* add delay to display */
	/* enable tim2 */
	htim2.Instance->CNT = 0;
	if (matrix_row == 0 && deactiveMatrix)
		deactiveMatrix = 0;
	else
		HAL_TIM_Base_Start_IT(&htim2);

}

void HAL_TIM_PeriodElapsedCallback(TIM_HandleTypeDef *htim)
{
	HAL_TIM_Base_Stop_IT(htim);
	startDmaTransfering();
}

/* TODO End of Function Declaration*/
/* USER CODE END 4 */

void Error_Handler(void)
{
}

/************************ (C) COPYRIGHT STMicroelectronics *****END OF FILE****/
